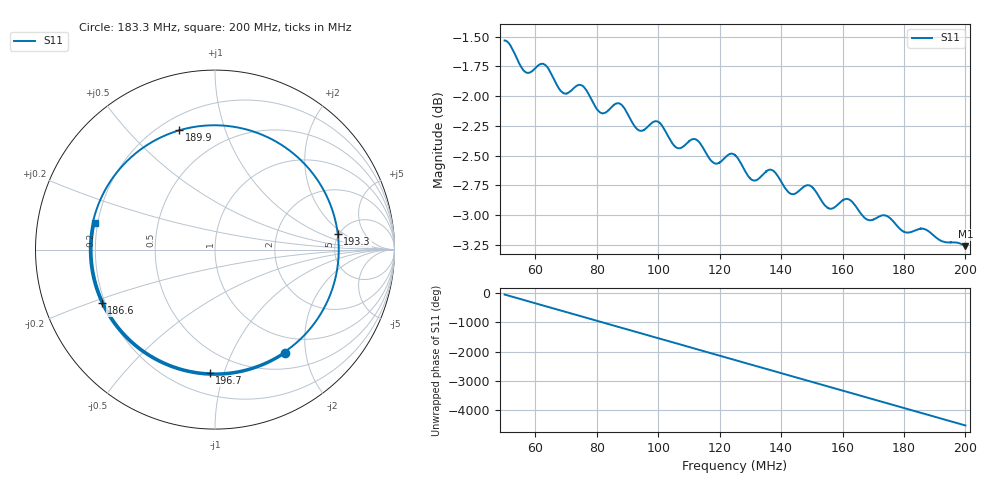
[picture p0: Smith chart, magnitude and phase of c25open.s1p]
! COPPER MOUNTAIN TECHNOLOGIES, PLANAR TR1300/1, 00071119, 20.2.2/1.0
! Date: 11/21/2023 6:57:52 PM
! Data: Format [Calibration Info]
! Freq  S11: Re/Im F1
# HZ S RI R 50
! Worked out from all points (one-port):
!   12288 points, 50 MHz to 200 MHz, reference 50 ohm
!   lowest |S11| = -3.3 dB at 200 MHz (marker M1), VSWR 5.39, Z = 9.4 + j5.51 ohm
!   |S11| at or under -10 dB: nowhere
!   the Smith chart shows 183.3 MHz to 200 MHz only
!   S11 on the Smith chart (normalised r, x): 183.3 MHz: 0.73, -1.64; 186.6 MHz: 0.19, -0.22; 189.9 MHz: 0.28, +0.71; 193.3 MHz: 4.88, +1.63; 196.7 MHz: 0.34, -0.90; 200 MHz: 0.19, +0.10
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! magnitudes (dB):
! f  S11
! 50 MHz  -1.5
! 56.47 MHz  -1.8
! 62.94 MHz  -1.7
! 68.75 MHz  -2.0
! 75.14 MHz  -1.9
! 81.72 MHz  -2.1
! 87.5 MHz  -2.1
! 93.33 MHz  -2.3
! 99.89 MHz  -2.2
! 106.3 MHz  -2.4
! 111.8 MHz  -2.4
! 118.3 MHz  -2.6
! 125 MHz  -2.5
! 130.4 MHz  -2.7
! 136.9 MHz  -2.6
! 143.8 MHz  -2.8
! 149.3 MHz  -2.8
! 156 MHz  -2.9
! 162.5 MHz  -2.9
! 167.9 MHz  -3.0
! 181.3 MHz  -3.1
! 183.3 MHz  -3.1
! 186.6 MHz  -3.1
! 189.9 MHz  -3.2
! 193.3 MHz  -3.2
! 196.7 MHz  -3.2
! 200 MHz  -3.3
! 200 MHz  -3.3
